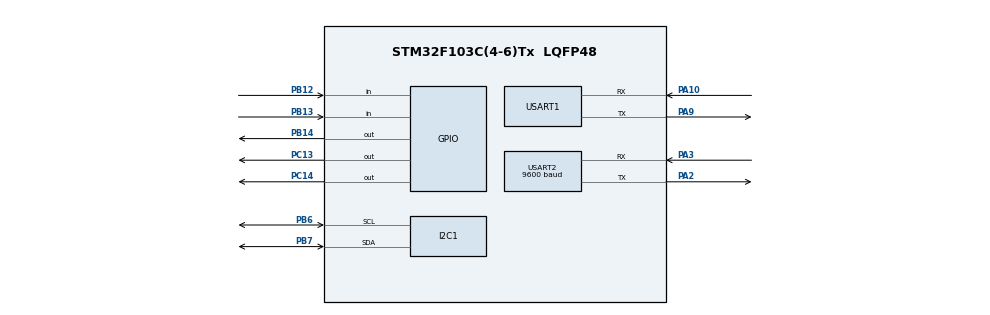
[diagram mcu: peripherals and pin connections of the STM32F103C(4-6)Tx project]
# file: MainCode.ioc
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Mcu.Family=STM32F1
Mcu.Name=STM32F103C(4-6)Tx
Mcu.Package=LQFP48
NVIC.PriorityGroup=NVIC_PRIORITYGROUP_4
PA10.Mode=Asynchronous
PA10.Signal=USART1_RX
PA13.Mode=Serial_Wire
PA13.Signal=SYS_JTMS-SWDIO
PA14.Mode=Serial_Wire
PA14.Signal=SYS_JTCK-SWCLK
PA2.Mode=Asynchronous
PA2.Signal=USART2_TX
PA3.Mode=Asynchronous
PA3.Signal=USART2_RX
PA9.Mode=Asynchronous
PA9.Signal=USART1_TX
PB12.GPIO_PuPd=GPIO_PULLUP
PB12.Signal=GPIO_Input
PB13.GPIO_PuPd=GPIO_PULLUP
PB13.Signal=GPIO_Input
PB14.Signal=GPIO_Output
PB6.Mode=I2C
PB6.Signal=I2C1_SCL
PB7.Mode=I2C
PB7.Signal=I2C1_SDA
PC13-TAMPER-RTC.Signal=GPIO_Output
PC14-OSC32_IN.Signal=GPIO_Output
PD0-OSC_IN.Mode=HSE-External-Oscillator
PD0-OSC_IN.Signal=RCC_OSC_IN
PD1-OSC_OUT.Mode=HSE-External-Oscillator
PD1-OSC_OUT.Signal=RCC_OSC_OUT
ProjectManager.HeapSize=0x200
ProjectManager.StackSize=0x400
ProjectManager.TargetToolchain=MDK-ARM V5.32
RCC.APB1Freq_Value=8000000
RCC.APB2Freq_Value=8000000
RCC.PLLSourceVirtual=RCC_PLLSOURCE_HSE
RCC.SYSCLKSource=RCC_SYSCLKSOURCE_HSE
RCC.USBFreq_Value=16000000
USART1.VirtualMode=VM_ASYNC
USART2.BaudRate=9600
USART2.VirtualMode=VM_ASYNC
board=custom

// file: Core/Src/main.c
/* USER CODE BEGIN Header */
/**
  ******************************************************************************
  * @file           : main.c
  * @brief          : Main program body
  ******************************************************************************
  * @attention
  *
  * Copyright (c) 2025 STMicroelectronics.
  * All rights reserved.
  *
  * This software is licensed under terms that can be found in the LICENSE file
  * in the root directory of this software component.
  * If no LICENSE file comes with this software, it is provided AS-IS.
  *
  ******************************************************************************
  */
/* USER CODE END Header */
#include "main.h"

/* USER CODE BEGIN Includes */
#include <string.h>
#include "delay.h"
#include "I2C_LCD.h"
/* USER CODE END Includes */

/* USER CODE BEGIN PTD */
#define LCDDisplay I2C_LCD_1
/* USER CODE END PTD */

/* USER CODE BEGIN PD */
#define CMDACTIVE1 0xA1
#define CMDINACTIVE1 0xA2

#define CMDACTIVE2 0xB1
#define CMDINACTIVE2 0xB2

#define CMDOFFKV1 0xC1
#define CMDOFFKV2 0xC2
/* USER CODE END PD */

I2C_HandleTypeDef hi2c1;

UART_HandleTypeDef huart1;
UART_HandleTypeDef huart2;

/* USER CODE BEGIN PV */
// cac ma lenh giao tiep module sim
uint8_t CMDAT[]="AT";  // return OK
uint8_t CMDECHOOFF[]="ATE0"; // return OK
uint8_t CMDSETBAUD[]="AT+IPR=9600"; // return OK
uint8_t CMDSETSMSTEXTMODE[]="AT+CMGF=1"; // return OK
uint8_t CMDSAVEPARAMETER[]="AT&W"; // return OK
uint8_t CMDSETNOSAVESMS[]="AT+CNMI=2,2,0,0"; // return OK
uint8_t CMDCHECKNETWORKSTATUS[]="AT+CREG?"; // return OK  +CREG: 0,3; no register GSM to net work. +CREG: 0,1 -> good 0 mean GSM, 1 mean registed
uint8_t CMDSENDSMS[]="AT+CMGS=";
uint8_t CMDMAKECALL[]="ATD";
uint8_t CMDSTOPCALL[]="ATH";

uint8_t PhoneNumber[]="0968046024";

uint8_t SMS1[]="Canh bao dot nhap khu vuc 1";
uint8_t SMS2[]="Canh bao dot nhap khu vuc 2";
uint8_t SMS3[]="HT GIAM SAT SAN SANG";

char GSMReady=0;
char KV1Active=0;
char KV2Active=0;
/* USER CODE END PV */

void SystemClock_Config(void);
static void MX_GPIO_Init(void);
static void MX_I2C1_Init(void);
static void MX_USART1_UART_Init(void);
static void MX_USART2_UART_Init(void);

/* USER CODE BEGIN 0 */

void OnBuzzer()
{
	HAL_GPIO_WritePin(GPIOC,GPIO_PIN_14,GPIO_PIN_SET);
}
void OffBuzzer()
{
	HAL_GPIO_WritePin(GPIOC,GPIO_PIN_14,GPIO_PIN_RESET);
}
void DisplayMain()
{
	I2C_LCD_Clear(LCDDisplay);
	I2C_LCD_WriteString(LCDDisplay, "GIAM SAT AN NINH");
  I2C_LCD_NoBlink(LCDDisplay);
	I2C_LCD_NoCursor(LCDDisplay);
}

void InitModuleSIM()
{
	 uint8_t SIMEND[2];

	 SIMEND[0]=0x0D;
	 SIMEND[1]=0x0A;

	 HAL_UART_Transmit(&huart1,CMDAT, strlen((char*)CMDAT), 100);
	 HAL_UART_Transmit(&huart1,SIMEND, sizeof(SIMEND), 100);
	 HAL_Delay(2000);

	 HAL_UART_Transmit(&huart1,CMDSETNOSAVESMS, strlen((char*)CMDSETNOSAVESMS), 100);
	 HAL_UART_Transmit(&huart1,SIMEND, sizeof(SIMEND), 100);
	 HAL_Delay(2000);

	 HAL_UART_Transmit(&huart1,CMDSETSMSTEXTMODE, strlen((char*)CMDSETSMSTEXTMODE), 100);
	 HAL_UART_Transmit(&huart1,SIMEND, sizeof(SIMEND), 100);
	 HAL_Delay(2000);

}

void SendSMS(uint8_t SMSNum)
{
	 uint8_t SIMEND[2];
	 uint8_t UARTSend[1];

	 SIMEND[0]=0x0D;
	 SIMEND[1]=0x0A;

	 HAL_UART_Transmit(&huart1,CMDSENDSMS, strlen((char*)CMDSENDSMS), 100);
   UARTSend[0]=0x22; // dau ngoac kep
   HAL_UART_Transmit(&huart1,UARTSend, sizeof(UARTSend), 100);
	 HAL_UART_Transmit(&huart1,PhoneNumber, strlen((char*)PhoneNumber), 100);
	 UARTSend[0]=0x22; // dau ngoac kep
   HAL_UART_Transmit(&huart1,UARTSend, sizeof(UARTSend), 100);

	 HAL_UART_Transmit(&huart1,SIMEND, sizeof(SIMEND), 100);
   HAL_Delay(2000);

	 if(SMSNum==1)
	 {
		 HAL_UART_Transmit(&huart1,SMS1, strlen((char*)SMS1), 100); // -1 bo ky tu null
	 }
	 else if(SMSNum==2)
	 {
		 HAL_UART_Transmit(&huart1,SMS2, strlen((char*)SMS2), 100);
	 }
	 else if(SMSNum==3)
	 {
		 HAL_UART_Transmit(&huart1,SMS3, strlen((char*)SMS3), 100);
	 }
	 HAL_Delay(500);
	 UARTSend[0]=0x1A; // dau ctrl
   HAL_UART_Transmit(&huart1,UARTSend, sizeof(UARTSend), 100);
	 HAL_Delay(5000);
}

void CheckLora()
{
	uint8_t UARTData[1]={0};
	if(HAL_UART_Receive(&huart2, (uint8_t *)UARTData, 1, 10) == HAL_OK)
	{
		if(UARTData[0]==CMDACTIVE1)
		{
			I2C_LCD_SetCursor(LCDDisplay,0,1);
		  I2C_LCD_WriteString(LCDDisplay, "CB KV1");
			OnBuzzer();
			SendSMS(1);
			KV1Active=1;
		}
		else if(UARTData[0]==CMDINACTIVE1)
		{
			I2C_LCD_SetCursor(LCDDisplay,0,1);
		  I2C_LCD_WriteString(LCDDisplay, "      ");
			KV1Active=0;
			if(KV2Active==0) OffBuzzer();
		}
		else if(UARTData[0]==CMDACTIVE2)
		{
			I2C_LCD_SetCursor(LCDDisplay,8,1);
		  I2C_LCD_WriteString(LCDDisplay, "CB KV2");
			OnBuzzer();
			SendSMS(2);
			KV2Active=1;
		}
		else if(UARTData[0]==CMDINACTIVE2)
		{
			I2C_LCD_SetCursor(LCDDisplay,8,1);
		  I2C_LCD_WriteString(LCDDisplay, "      ");
			KV2Active=0;
			if(KV1Active==0) OffBuzzer();
		}
	}
}

void SendOffKV1()
{
	uint8_t UARTSend[1];
	UARTSend[0]=CMDOFFKV1;
	HAL_UART_Transmit(&huart2,UARTSend, sizeof(UARTSend), 100);
}
void SendOffKV2()
{
	uint8_t UARTSend[1];
	UARTSend[0]=CMDOFFKV2;
	HAL_UART_Transmit(&huart2,UARTSend, sizeof(UARTSend), 100);
}

/* USER CODE END 0 */

int main(void)
{

  /* MCU Configuration--------------------------------------------------------*/

  /* Reset of all peripherals, Initializes the Flash interface and the Systick. */
  HAL_Init();

  /* Configure the system clock */
  SystemClock_Config();

  /* Initialize all configured peripherals */
  MX_GPIO_Init();
  MX_I2C1_Init();
  MX_USART1_UART_Init();
  MX_USART2_UART_Init();
  /* USER CODE BEGIN 2 */
    delay_init(8);
	  I2C_LCD_Init(LCDDisplay);
	  DisplayMain();
		I2C_LCD_SetCursor(LCDDisplay,0,1);
		I2C_LCD_WriteString(LCDDisplay, "DANG KHOI DONG..");
		HAL_Delay(30000);
    InitModuleSIM();
	  HAL_Delay(2000);
	  SendSMS(3);
		I2C_LCD_SetCursor(LCDDisplay,0,1);
		I2C_LCD_WriteString(LCDDisplay, "                ");
		OnBuzzer();
		HAL_Delay(1000);
		OffBuzzer();
  /* USER CODE END 2 */

  /* Infinite loop */
  /* USER CODE BEGIN WHILE */
  while (1)
  {

			CheckLora();
    if(HAL_GPIO_ReadPin(GPIOB,GPIO_PIN_12)==0)
		{
			OffBuzzer();
			SendOffKV1();
			HAL_Delay(500);

		}
		if(HAL_GPIO_ReadPin(GPIOB,GPIO_PIN_13)==0)
		{
			OffBuzzer();
			SendOffKV2();
			HAL_Delay(500);

		}
    /* USER CODE END WHILE */

  }
}

void SystemClock_Config(void)
{
  RCC_OscInitTypeDef RCC_OscInitStruct = {0};
  RCC_ClkInitTypeDef RCC_ClkInitStruct = {0};

  /** Initializes the RCC Oscillators according to the specified parameters
  * in the RCC_OscInitTypeDef structure.
  */
  RCC_OscInitStruct.OscillatorType = RCC_OSCILLATORTYPE_HSE;
  RCC_OscInitStruct.HSEState = RCC_HSE_ON;
  RCC_OscInitStruct.PLL.PLLState = RCC_PLL_NONE;
  if (HAL_RCC_OscConfig(&RCC_OscInitStruct) != HAL_OK)
  {
    Error_Handler();
  }

  /** Initializes the CPU, AHB and APB buses clocks
  */
  RCC_ClkInitStruct.ClockType = RCC_CLOCKTYPE_HCLK|RCC_CLOCKTYPE_SYSCLK
                              |RCC_CLOCKTYPE_PCLK1|RCC_CLOCKTYPE_PCLK2;
  RCC_ClkInitStruct.SYSCLKSource = RCC_SYSCLKSOURCE_HSE;
  RCC_ClkInitStruct.AHBCLKDivider = RCC_SYSCLK_DIV1;
  RCC_ClkInitStruct.APB1CLKDivider = RCC_HCLK_DIV1;
  RCC_ClkInitStruct.APB2CLKDivider = RCC_HCLK_DIV1;

  if (HAL_RCC_ClockConfig(&RCC_ClkInitStruct, FLASH_LATENCY_0) != HAL_OK)
  {
    Error_Handler();
  }
}

static void MX_I2C1_Init(void)
{

  hi2c1.Instance = I2C1;
  hi2c1.Init.ClockSpeed = 100000;
  hi2c1.Init.DutyCycle = I2C_DUTYCYCLE_2;
  hi2c1.Init.OwnAddress1 = 0;
  hi2c1.Init.AddressingMode = I2C_ADDRESSINGMODE_7BIT;
  hi2c1.Init.DualAddressMode = I2C_DUALADDRESS_DISABLE;
  hi2c1.Init.OwnAddress2 = 0;
  hi2c1.Init.GeneralCallMode = I2C_GENERALCALL_DISABLE;
  hi2c1.Init.NoStretchMode = I2C_NOSTRETCH_DISABLE;
  if (HAL_I2C_Init(&hi2c1) != HAL_OK)
  {
    Error_Handler();
  }

}

static void MX_USART1_UART_Init(void)
{

  huart1.Instance = USART1;
  huart1.Init.BaudRate = 115200;
  huart1.Init.WordLength = UART_WORDLENGTH_8B;
  huart1.Init.StopBits = UART_STOPBITS_1;
  huart1.Init.Parity = UART_PARITY_NONE;
  huart1.Init.Mode = UART_MODE_TX_RX;
  huart1.Init.HwFlowCtl = UART_HWCONTROL_NONE;
  huart1.Init.OverSampling = UART_OVERSAMPLING_16;
  if (HAL_UART_Init(&huart1) != HAL_OK)
  {
    Error_Handler();
  }

}

static void MX_USART2_UART_Init(void)
{

  huart2.Instance = USART2;
  huart2.Init.BaudRate = 9600;
  huart2.Init.WordLength = UART_WORDLENGTH_8B;
  huart2.Init.StopBits = UART_STOPBITS_1;
  huart2.Init.Parity = UART_PARITY_NONE;
  huart2.Init.Mode = UART_MODE_TX_RX;
  huart2.Init.HwFlowCtl = UART_HWCONTROL_NONE;
  huart2.Init.OverSampling = UART_OVERSAMPLING_16;
  if (HAL_UART_Init(&huart2) != HAL_OK)
  {
    Error_Handler();
  }

}

static void MX_GPIO_Init(void)
{
  GPIO_InitTypeDef GPIO_InitStruct = {0};

  /* GPIO Ports Clock Enable */
  __HAL_RCC_GPIOC_CLK_ENABLE();
  __HAL_RCC_GPIOD_CLK_ENABLE();
  __HAL_RCC_GPIOA_CLK_ENABLE();
  __HAL_RCC_GPIOB_CLK_ENABLE();

  /*Configure GPIO pin Output Level */
  HAL_GPIO_WritePin(GPIOC, GPIO_PIN_13|GPIO_PIN_14, GPIO_PIN_RESET);

  /*Configure GPIO pin Output Level */
  HAL_GPIO_WritePin(GPIOB, GPIO_PIN_14, GPIO_PIN_RESET);

  /*Configure GPIO pins : PC13 PC14 */
  GPIO_InitStruct.Pin = GPIO_PIN_13|GPIO_PIN_14;
  GPIO_InitStruct.Mode = GPIO_MODE_OUTPUT_PP;
  GPIO_InitStruct.Pull = GPIO_NOPULL;
  GPIO_InitStruct.Speed = GPIO_SPEED_FREQ_LOW;
  HAL_GPIO_Init(GPIOC, &GPIO_InitStruct);

  /*Configure GPIO pins : PB12 PB13 */
  GPIO_InitStruct.Pin = GPIO_PIN_12|GPIO_PIN_13;
  GPIO_InitStruct.Mode = GPIO_MODE_INPUT;
  GPIO_InitStruct.Pull = GPIO_PULLUP;
  HAL_GPIO_Init(GPIOB, &GPIO_InitStruct);

  /*Configure GPIO pin : PB14 */
  GPIO_InitStruct.Pin = GPIO_PIN_14;
  GPIO_InitStruct.Mode = GPIO_MODE_OUTPUT_PP;
  GPIO_InitStruct.Pull = GPIO_NOPULL;
  GPIO_InitStruct.Speed = GPIO_SPEED_FREQ_LOW;
  HAL_GPIO_Init(GPIOB, &GPIO_InitStruct);

}

void Error_Handler(void)
{
  __disable_irq();
  while (1)
  {
  }
}
